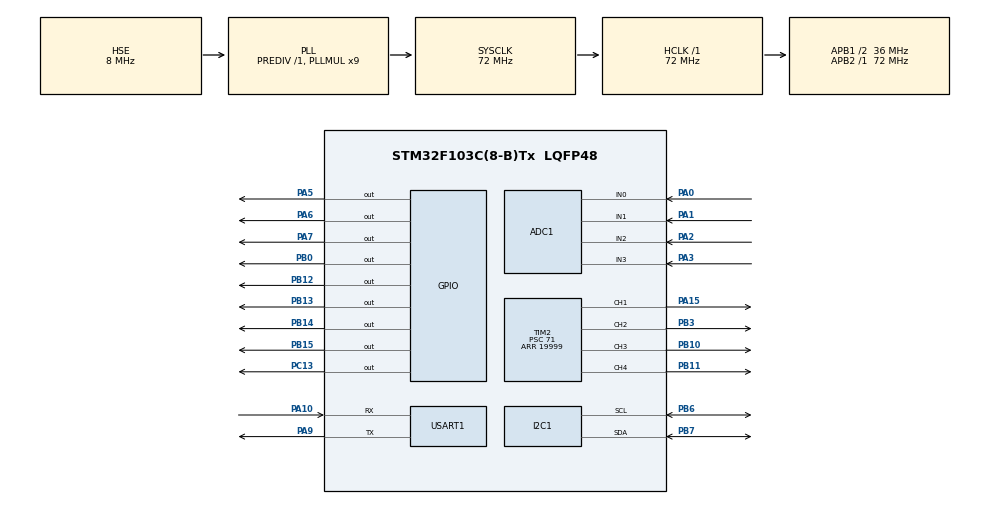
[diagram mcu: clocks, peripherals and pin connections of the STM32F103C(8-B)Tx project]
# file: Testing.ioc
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ADC1.Channel-0\#ChannelRegularConversion=ADC_CHANNEL_0
ADC1.NbrOfConversion=1
ADC1.NbrOfConversionFlag=1
ADC1.Rank-0\#ChannelRegularConversion=1
ADC1.SamplingTime-0\#ChannelRegularConversion=ADC_SAMPLETIME_239CYCLES_5
ADC1.master=1
Mcu.Family=STM32F1
Mcu.Name=STM32F103C(8-B)Tx
Mcu.Package=LQFP48
NVIC.PriorityGroup=NVIC_PRIORITYGROUP_4
NVIC.USART1_IRQn=true\:1\:0\:true\:false\:true\:true\:true\:true
PA0-WKUP.Signal=ADCx_IN0
PA1.Signal=ADCx_IN1
PA10.Mode=Asynchronous
PA10.Signal=USART1_RX
PA13.Mode=Serial_Wire
PA13.Signal=SYS_JTMS-SWDIO
PA14.Mode=Serial_Wire
PA14.Signal=SYS_JTCK-SWCLK
PA15.Signal=S_TIM2_CH1_ETR
PA2.Signal=ADCx_IN2
PA3.Signal=ADCx_IN3
PA5.Signal=GPIO_Output
PA6.Signal=GPIO_Output
PA7.Signal=GPIO_Output
PA9.Mode=Asynchronous
PA9.Signal=USART1_TX
PB0.Signal=GPIO_Output
PB10.Signal=S_TIM2_CH3
PB11.Signal=S_TIM2_CH4
PB12.Signal=GPIO_Output
PB13.Signal=GPIO_Output
PB14.Signal=GPIO_Output
PB15.Signal=GPIO_Output
PB3.Signal=S_TIM2_CH2
PB6.Mode=I2C
PB6.Signal=I2C1_SCL
PB7.Mode=I2C
PB7.Signal=I2C1_SDA
PC13-TAMPER-RTC.Signal=GPIO_Output
PD0-OSC_IN.Mode=HSE-External-Oscillator
PD0-OSC_IN.Signal=RCC_OSC_IN
PD1-OSC_OUT.Mode=HSE-External-Oscillator
PD1-OSC_OUT.Signal=RCC_OSC_OUT
ProjectManager.HeapSize=0x200
ProjectManager.StackSize=0x400
ProjectManager.TargetToolchain=MDK-ARM V5.32
RCC.ADCPresc=RCC_ADCPCLK2_DIV6
RCC.AHBFreq_Value=72000000
RCC.APB1CLKDivider=RCC_HCLK_DIV2
RCC.APB1Freq_Value=36000000
RCC.APB1TimFreq_Value=72000000
RCC.APB2Freq_Value=72000000
RCC.APB2TimFreq_Value=72000000
RCC.HCLKFreq_Value=72000000
RCC.PLLMUL=RCC_PLL_MUL9
RCC.PLLSourceVirtual=RCC_PLLSOURCE_HSE
RCC.SYSCLKFreq_VALUE=72000000
RCC.SYSCLKSource=RCC_SYSCLKSOURCE_PLLCLK
RCC.USBFreq_Value=72000000
SH.ADCx_IN0.0=ADC1_IN0,IN0
SH.ADCx_IN1.0=ADC1_IN1,IN1
SH.ADCx_IN2.0=ADC1_IN2,IN2
SH.ADCx_IN3.0=ADC1_IN3,IN3
SH.S_TIM2_CH1_ETR.0=TIM2_CH1,PWM Generation1 CH1
SH.S_TIM2_CH2.0=TIM2_CH2,PWM Generation2 CH2
SH.S_TIM2_CH3.0=TIM2_CH3,PWM Generation3 CH3
SH.S_TIM2_CH4.0=TIM2_CH4,PWM Generation4 CH4
TIM2.Channel-PWM\ Generation1\ CH1=TIM_CHANNEL_1
TIM2.Channel-PWM\ Generation2\ CH2=TIM_CHANNEL_2
TIM2.Channel-PWM\ Generation3\ CH3=TIM_CHANNEL_3
TIM2.Channel-PWM\ Generation4\ CH4=TIM_CHANNEL_4
TIM2.Period=19999
TIM2.Prescaler=71
USART1.VirtualMode=VM_ASYNC
VP_TIM2_VS_ClockSourceINT.Mode=Internal
board=custom

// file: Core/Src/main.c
/* USER CODE BEGIN Header */
/**
  ******************************************************************************
  * @file           : main.c
  * @brief          : Main program body
  ******************************************************************************
  * @attention
  *
  * Copyright (c) 2025 STMicroelectronics.
  * All rights reserved.
  *
  * This software is licensed under terms that can be found in the LICENSE file
  * in the root directory of this software component.
  * If no LICENSE file comes with this software, it is provided AS-IS.
  *
  ******************************************************************************
  */
/* USER CODE END Header */
#include "main.h"

/* USER CODE BEGIN Includes */
#include <stdio.h>
#include <string.h>

#include "battery_control.h"
#include "servo_control.h"
#include "ina219_manager.h"
#include "ntc_sensor.h"
#include "handle_cmd.h"
#include "uart_dn.h"
#include "battery_diagnostics.h"
#include "soft_timer.h"

/* USER CODE END Includes */

/* USER CODE BEGIN PTD */
const float threshold_pin_empty = 800.0f;
const float threshold_temperature = 55.0f;
const uint8_t angle_open = 180U;
const uint8_t angle_close = 40U;

/* USER CODE END PTD */

ADC_HandleTypeDef hadc1;

I2C_HandleTypeDef hi2c1;

TIM_HandleTypeDef htim2;

UART_HandleTypeDef huart1;

void SystemClock_Config(void);
static void MX_GPIO_Init(void);
static void MX_I2C1_Init(void);
static void MX_ADC1_Init(void);
static void MX_TIM2_Init(void);
static void MX_USART1_UART_Init(void);

/* USER CODE BEGIN 0 */

const uint32_t ADC_Channel[] = {
	ADC_CHANNEL_0,
	ADC_CHANNEL_1,
	ADC_CHANNEL_2,
};

SoftTimer timer_sensor;

volatile SystemState status_machine = IDLE_WAIT_CMD;

PinChannel pin_channels[3] = {0};

uint8_t id_pin_percent_max = 0;
uint8_t id_pin_empty = 0;

volatile int8_t esp32_pin_check_status = -1;
uint32_t timestamp_gui_checkpin = 0; // tý coi nó là gì sua nó lai

#define ESP32_CHECK_TIMEOUT 5000    // này n?a

#define CHARGE_FULL_COUNTER_LIMIT  20

uint8_t id_pin_dang_kiem_tra = 4;

const char* get_channel_state_string(StatusChannel state) {
	switch(state) {
		case pin_empty:       return "T";
		case pin_charge:  		return "S";
		case pin_full: 		    return "D";
		case pin_over_heat:   return "N";
		case pin_error:       return "L";
		default:              return "R";
	}
}

uint8_t percent[3];

void ReportStatusTask(void) {
	char report_buffer[50];

	for (int i = 0; i < 3; i++) {
	if(pin_channels[i].status == pin_empty) {
		percent[i] = 0;
		pin_channels[i].check_percent_pin = 0;
	}

	if(pin_channels[i].status == pin_full) {
		percent[i] = 100;
		pin_channels[i].check_percent_pin = 0;
	}

	if(pin_channels[i].check_percent_pin == 1) {
		percent[i] = pin_channels[i].data_pin.soc_percent;
		pin_channels[i].check_percent_pin = 0;
	}

	sprintf(report_buffer, "P:%d,%%:%d,C:%s,V:%.2f,I:%.2f,T:%.1f\n",
							i + 1,
							percent[i],
							get_channel_state_string(pin_channels[i].status),
							pin_channels[i].data_pin.voltage,
							pin_channels[i].data_pin.current,
							pin_channels[i].temperatures);

	TransmitStringHandlerUART(report_buffer);
	}

	TransmitStringHandlerUART("\n");
}

volatile uint8_t fit_pin_remove = 4;
volatile uint8_t fit_pin_initial = 4;

void CheckPinNewInitial(uint8_t id, PinChannel* id_channel) {
	if (id_channel->data_pin.voltage > threshold_pin_empty) {
		BatteryHealth health_status = CheckDiagnose(id + 1, id_channel->temperatures);

		if (health_status == BATT_UNSAFE_TEMP || health_status == BATT_DEAD) {
			id_channel->status = pin_error;
		} else {
				health_status = RunIRTestDiagnose(id + 1);

				if (health_status == BATT_HEALTHY) {

					if (id_channel->data_pin.soc_percent >= 98.0f) {
						id_channel->status = pin_full;

						if(status_machine == ALL_SLOTS_EMPTY) status_machine = IDLE_WAIT_CMD;
					} else {
								id_channel->status = pin_charge;

								if(status_machine == ALL_SLOTS_EMPTY) status_machine = IDLE_WAIT_CMD;

								id_channel->check_percent_pin = 1;
								id_channel->last_check_percent = HAL_GetTick();
					}
				} else {
						id_channel->status = pin_error;
				}
		}
	}
}

void HandlerStateCharge(PinChannel* channel) {

	if (channel->temperatures <= (NTC_ERROR_VAL + 1.0f)) {
		channel->status = pin_error;
		return;
	}

	if (channel->temperatures > threshold_temperature || channel->temperatures < 5.0f) {
		channel->status = pin_over_heat;

		return;
	}

	if ((channel->data_pin.current < 1.6f && channel->data_pin.current > -2.3f)
	|| (channel->data_pin.current < 0.1f && channel->data_pin.current > -1.0f)) {
		if (channel->charge_done_counter == 0) {
			channel->charge_done_timestamp = HAL_GetTick();
		}
			channel->charge_done_counter++;

			if (channel->charge_done_counter >= CHARGE_FULL_COUNTER_LIMIT) {
					if (channel->data_pin.current < 0.1f && channel->data_pin.current > -1.0f) {
							channel->status = pin_empty;
					} else {
							channel->status = pin_full;
					}
					channel->charge_done_counter = 0;
			}
	} else {
			channel->charge_done_counter = 0;
	}

	if (channel->charge_done_counter > 0 && channel->charge_done_counter < 3) {
			if (HAL_GetTick() - channel->charge_done_timestamp > 6000) {
					channel->charge_done_counter = 0;
			}
	}
}

//Initial All Pin in Battery control
void InitialAllPinBattery(void) {
	InitChannelBattery(1, GPIOB, GPIO_PIN_13, GPIOB, GPIO_PIN_12);
	InitChannelBattery(2, GPIOB, GPIO_PIN_15, GPIOB, GPIO_PIN_14);
	InitChannelBattery(3, GPIOA, GPIO_PIN_7, GPIOB, GPIO_PIN_0);
}

//Initial Servo Pin
void InitialAllPinServo(void) {
	InitServo(1, &htim2, TIM_CHANNEL_1);
	InitServo(2, &htim2, TIM_CHANNEL_2);
	InitServo(3, &htim2, TIM_CHANNEL_3);
}

void InitialAllINA219(void) {
	SetAddressManagerINA219(1, 0x40);
	SetAddressManagerINA219(2, 0x41);
	SetAddressManagerINA219(3, 0x44);
}

void InitialStateBeginChannelBattery(void) {
	for(uint8_t i = 0; i < 3; i++) {
		pin_channels[i].status = pin_empty;
  }
}

/* USER CODE END 0 */

int main(void)
{

  /* MCU Configuration--------------------------------------------------------*/

  /* Reset of all peripherals, Initializes the Flash interface and the Systick. */
  HAL_Init();

  /* Configure the system clock */
  SystemClock_Config();

  /* Initialize all configured peripherals */
  MX_GPIO_Init();
  MX_I2C1_Init();
  MX_ADC1_Init();
  MX_TIM2_Init();
  MX_USART1_UART_Init();
  /* USER CODE BEGIN 2 */
	HAL_ADCEx_Calibration_Start(&hadc1);

	InitHandlerUART(&huart1);

	InitialAllPinBattery();
	SetIdleAllChannelBattery();

	InitialAllPinServo();
	OpenAllServo(angle_open);

	InitialStateBeginChannelBattery();

	InitialAllINA219();
	if (0 == InitManagerINA219(&hi2c1)) {
		HAL_GPIO_TogglePin(GPIOC, GPIO_PIN_13);
	}

	char rx_line_buffer[100];
	char cmd_buffer[100];

	StartSoftTimer(&timer_sensor, 500);

	TransmitStringHandlerUART("He thong khoi dong");

  /* USER CODE END 2 */

  /* Infinite loop */
  while (1)
  {

    /* USER CODE BEGIN 3 */
		RunManagerServo();

    if (GetLineHandlerUART(rx_line_buffer, 100)) {
			strcpy(cmd_buffer, rx_line_buffer);
			CMDProcessAll(cmd_buffer);
			TransmitStringHandlerUART("ok\r\n");
    }

		if (IsExpiredSoftTimer(&timer_sensor)) {
			for(uint8_t id = 0; id < 3; id++){
					pin_channels[id].temperatures = GetTemperatureNTC(&hadc1, ADC_Channel[id]);
					pin_channels[id].data_pin = ReadManagerINA219(id + 1);
			}

			uint8_t temp_max_percent = 0;
			uint8_t found_empty_slot = 0;
			id_pin_percent_max = 4;
			id_pin_empty = 4;

			if(status_machine == IDLE_WAIT_CMD) status_machine = ALL_SLOTS_EMPTY;
			for (int i = 0; i < 3; i++) {
				if(pin_channels[i].status == pin_empty) {
					percent[i] = 0;
				} else if(pin_channels[i].status == pin_full) {
					if(status_machine == ALL_SLOTS_EMPTY) status_machine = IDLE_WAIT_CMD;
					percent[i] = 100;
				} else if(pin_channels[i].check_percent_pin == 1) {
					percent[i] = pin_channels[i].data_pin.soc_percent;
					pin_channels[i].check_percent_pin = 0;
				}

				if ((pin_channels[i].status == pin_charge || pin_channels[i].status == pin_full) && percent[i] >= temp_max_percent) {
					if(status_machine == ALL_SLOTS_EMPTY) status_machine = IDLE_WAIT_CMD;
					temp_max_percent = percent[i];
					id_pin_percent_max = i;
				}

				if ((pin_channels[i].status == pin_empty) &&  (0 == found_empty_slot)) {
					id_pin_empty = i;
					found_empty_slot = 1;
				}
			}
			ReportStatusTask();
		}

		switch (status_machine) {
			case INSTALL_BATTERY:
				for(uint8_t i = 0; i < 3; i++){
					if(pin_channels[i].status == pin_empty || pin_channels[i].status == pin_error){
						SetAngleServo(i + 1, angle_open);

						if((pin_channels[i].status == pin_error) && (pin_channels[i].data_pin.voltage < threshold_pin_empty)) {
								pin_channels[i].status = pin_empty;
						}

						if(pin_channels[i].data_pin.voltage > threshold_pin_empty){
							esp32_pin_check_status = -1;
							timestamp_gui_checkpin = HAL_GetTick();
							id_pin_dang_kiem_tra = i;

							TransmitStringHandlerUART("checkpin\n");

							status_machine = INSTALL_WAIT_ESP_PROCESS;
							break;
						}
					}
				}
				break;

			case ALL_SLOTS_EMPTY:
				OpenAllServo(angle_open);

				for(uint8_t i = 0; i < 3; i++){
					SetStateChannelBattery(i + 1, STATE_IDLE);

					if(pin_channels[i].data_pin.voltage > threshold_pin_empty){
						esp32_pin_check_status = -1;
						timestamp_gui_checkpin = HAL_GetTick();
						id_pin_dang_kiem_tra = i;

						TransmitStringHandlerUART("checkpin\n");

						status_machine = INSTALL_WAIT_ESP_PROCESS;
					}
				}
				break;

			case IDLE_WAIT_CMD:
				OpenAllServo(angle_open);

				for (uint8_t i = 0; i < 3; i++) {
					switch(pin_channels[i].status) {
						case pin_empty:
							SetStateChannelBattery(i + 1, STATE_IDLE);
							if(pin_channels[i].data_pin.voltage > threshold_pin_empty){
								esp32_pin_check_status = -1;
								timestamp_gui_checkpin = HAL_GetTick();
								id_pin_dang_kiem_tra = i;

								TransmitStringHandlerUART("checkpin\n");

								status_machine = INSTALL_WAIT_ESP_PROCESS;
							}
							break;

						case pin_charge:
							HandlerStateCharge(&(pin_channels[i]));
							SetStateChannelBattery(i + 1, STATE_CHARGING);
							break;

						case pin_over_heat:
							if(pin_channels[i].temperatures < threshold_temperature - 5) {
								pin_channels[i].status = pin_charge;
							}
							SetStateChannelBattery(i + 1, STATE_IDLE);
							break;

						case pin_full:
						case pin_error:
							if(pin_channels[i].data_pin.voltage < threshold_pin_empty) {
								pin_channels[i].status = pin_empty;
							}
							SetStateChannelBattery(i + 1, STATE_IDLE);
							break;

						default:

						break;
					}
				}
			break;

			case WAIT_BATTERY_REMOVAL:
					SetAngleServo(fit_pin_remove + 1, angle_open);
					SetStateChannelBattery(fit_pin_remove + 1, STATE_IDLE);

					if (pin_channels[fit_pin_remove].data_pin.voltage < threshold_pin_empty) {
							pin_channels[fit_pin_remove].status = pin_empty;
							SetAngleServo(fit_pin_remove + 1, angle_close);
							fit_pin_remove = 4;
							status_machine = IDLE_WAIT_CMD;
					}
					break;

			case SWAP_WAIT_INSERTION:
					for(uint8_t i = 0; i < 3; i++)
					{
						if(i == fit_pin_initial){
							SetAngleServo(fit_pin_initial + 1, angle_open);
						}
						else{
							SetAngleServo(i + 1, angle_close);
						}
					}

					if (pin_channels[fit_pin_initial].data_pin.voltage > threshold_pin_empty) {
							esp32_pin_check_status = -1;
							timestamp_gui_checkpin = HAL_GetTick();

							TransmitStringHandlerUART("checkpin\n");

							status_machine = SWAP_WAIT_ESP_PROCESS;
					}
					break;

			case SWAP_WAIT_REMOVAL:
					for(uint8_t i = 0; i < 3; i++)
					{
						if(i == fit_pin_remove){
							SetAngleServo(fit_pin_remove + 1, angle_open);
						}
						else{
							SetAngleServo(i + 1, angle_close);
						}
					}
					SetStateChannelBattery(fit_pin_remove + 1, STATE_IDLE);

					if (pin_channels[fit_pin_remove].data_pin.voltage < threshold_pin_empty) {
							pin_channels[fit_pin_remove].status = pin_empty;
							SetAngleServo(fit_pin_remove + 1, angle_close);

							fit_pin_remove = 4;
							fit_pin_initial = 4;
							status_machine = IDLE_WAIT_CMD;
					}
					break;

			case INSTALL_WAIT_ESP_PROCESS:
				if (esp32_pin_check_status == 1) {
						CheckPinNewInitial(id_pin_dang_kiem_tra, &pin_channels[id_pin_dang_kiem_tra]);

						if (pin_channels[id_pin_dang_kiem_tra].status == pin_charge || pin_channels[id_pin_dang_kiem_tra].status == pin_full) {
								CloseAllServo(angle_close);
								status_machine = IDLE_WAIT_CMD;
						} else {
								status_machine = INSTALL_ERROR_REMOVAL;
						}
						esp32_pin_check_status = -1;
				}
				else if (esp32_pin_check_status == 0) {
						status_machine = INSTALL_ERROR_REMOVAL;
						esp32_pin_check_status = -1;
				}
				else if (HAL_GetTick() - timestamp_gui_checkpin > ESP32_CHECK_TIMEOUT) {
						status_machine = INSTALL_ERROR_REMOVAL;
						esp32_pin_check_status = -1;
				}
				break;

			case INSTALL_ERROR_REMOVAL:
				SetAngleServo(id_pin_dang_kiem_tra + 1, angle_open);

				if (pin_channels[id_pin_dang_kiem_tra].data_pin.voltage < threshold_pin_empty) {
						pin_channels[id_pin_dang_kiem_tra].status = pin_empty;
						id_pin_dang_kiem_tra = 4;
						status_machine = INSTALL_BATTERY;
				}
				break;

			case SWAP_WAIT_ESP_PROCESS:
				if (esp32_pin_check_status == 1) {
						CheckPinNewInitial(fit_pin_initial, &pin_channels[fit_pin_initial]);

						if (pin_channels[fit_pin_initial].status == pin_charge || pin_channels[fit_pin_initial].status == pin_full) {
								SetAngleServo(fit_pin_initial + 1, angle_close);
								status_machine = SWAP_WAIT_REMOVAL;
						} else {
								status_machine = SWAP_WAIT_REMOVAL;
						}
						esp32_pin_check_status = -1;
				}
				else if (esp32_pin_check_status == 0) {
						status_machine = SWAP_WAIT_REMOVAL;
						esp32_pin_check_status = -1;
				}
				else if (HAL_GetTick() - timestamp_gui_checkpin > ESP32_CHECK_TIMEOUT) {
						status_machine = SWAP_WAIT_REMOVAL;
						esp32_pin_check_status = -1;
				}
				break;

			case SWAP_ERROR_REMOVAL:
				SetAngleServo(fit_pin_initial + 1, angle_open);

				if (pin_channels[fit_pin_initial].data_pin.voltage < threshold_pin_empty) {
						pin_channels[fit_pin_initial].status = pin_empty;
						status_machine = SWAP_WAIT_INSERTION;
				}
				break;
		}

		for (uint8_t i = 0; i < 3; i++) {
			if (pin_channels[i].status == pin_charge && HAL_GetTick() - pin_channels[i].last_check_percent >= 300000) {
					SetStateChannelBattery(i + 1, STATE_IDLE); // Ngắt sạc
					HAL_Delay(100);
					pin_channels[i].data_pin = ReadManagerINA219(i + 1);
					pin_channels[i].last_check_percent = HAL_GetTick();
					pin_channels[i].check_percent_pin = 1;
					SetStateChannelBattery(i + 1, STATE_CHARGING); // Bật sạc lại
			}
		}
//		float temperatures[4];
//		INA219_Data_t data_pin[4];
//
//		SetStateChannelBattery(4, STATE_CHARGING);
//    if (HAL_GetTick() - last_sensor_update_tick >= 1000)
//		{
//    last_sensor_update_tick = HAL_GetTick();
//    for(uint8_t i = 0; i < 4; i++) {
//        temperatures[i] = NTC_GetTemperature(&hadc1, ADC_Channel[i]);
//        data_pin[i] = INA219_Manager_Read(i + 1);
//
//        char data_transmit[100];
//        sprintf(data_transmit, "DATA%d: V=%.2f, C=%.2fmA, T=%.1f\r\n",
//                i+1, data_pin[i].voltage, data_pin[i].current, temperatures[i]);
//        TransmitStringHandlerUART(data_transmit);
//    }
//		}  /* USER CODE END 3 */
	}
}

void SystemClock_Config(void)
{
  RCC_OscInitTypeDef RCC_OscInitStruct = {0};
  RCC_ClkInitTypeDef RCC_ClkInitStruct = {0};
  RCC_PeriphCLKInitTypeDef PeriphClkInit = {0};

  /** Initializes the RCC Oscillators according to the specified parameters
  * in the RCC_OscInitTypeDef structure.
  */
  RCC_OscInitStruct.OscillatorType = RCC_OSCILLATORTYPE_HSE;
  RCC_OscInitStruct.HSEState = RCC_HSE_ON;
  RCC_OscInitStruct.HSEPredivValue = RCC_HSE_PREDIV_DIV1;
  RCC_OscInitStruct.HSIState = RCC_HSI_ON;
  RCC_OscInitStruct.PLL.PLLState = RCC_PLL_ON;
  RCC_OscInitStruct.PLL.PLLSource = RCC_PLLSOURCE_HSE;
  RCC_OscInitStruct.PLL.PLLMUL = RCC_PLL_MUL9;
  if (HAL_RCC_OscConfig(&RCC_OscInitStruct) != HAL_OK)
  {
    Error_Handler();
  }

  /** Initializes the CPU, AHB and APB buses clocks
  */
  RCC_ClkInitStruct.ClockType = RCC_CLOCKTYPE_HCLK|RCC_CLOCKTYPE_SYSCLK
                              |RCC_CLOCKTYPE_PCLK1|RCC_CLOCKTYPE_PCLK2;
  RCC_ClkInitStruct.SYSCLKSource = RCC_SYSCLKSOURCE_PLLCLK;
  RCC_ClkInitStruct.AHBCLKDivider = RCC_SYSCLK_DIV1;
  RCC_ClkInitStruct.APB1CLKDivider = RCC_HCLK_DIV2;
  RCC_ClkInitStruct.APB2CLKDivider = RCC_HCLK_DIV1;

  if (HAL_RCC_ClockConfig(&RCC_ClkInitStruct, FLASH_LATENCY_2) != HAL_OK)
  {
    Error_Handler();
  }
  PeriphClkInit.PeriphClockSelection = RCC_PERIPHCLK_ADC;
  PeriphClkInit.AdcClockSelection = RCC_ADCPCLK2_DIV6;
  if (HAL_RCCEx_PeriphCLKConfig(&PeriphClkInit) != HAL_OK)
  {
    Error_Handler();
  }
}

static void MX_ADC1_Init(void)
{

  ADC_ChannelConfTypeDef sConfig = {0};

  /** Common config
  */
  hadc1.Instance = ADC1;
  hadc1.Init.ScanConvMode = ADC_SCAN_DISABLE;
  hadc1.Init.ContinuousConvMode = DISABLE;
  hadc1.Init.DiscontinuousConvMode = DISABLE;
  hadc1.Init.ExternalTrigConv = ADC_SOFTWARE_START;
  hadc1.Init.DataAlign = ADC_DATAALIGN_RIGHT;
  hadc1.Init.NbrOfConversion = 1;
  if (HAL_ADC_Init(&hadc1) != HAL_OK)
  {
    Error_Handler();
  }

  /** Configure Regular Channel
  */
  sConfig.Channel = ADC_CHANNEL_0;
  sConfig.Rank = ADC_REGULAR_RANK_1;
  sConfig.SamplingTime = ADC_SAMPLETIME_239CYCLES_5;
  if (HAL_ADC_ConfigChannel(&hadc1, &sConfig) != HAL_OK)
  {
    Error_Handler();
  }

}

static void MX_I2C1_Init(void)
{

  hi2c1.Instance = I2C1;
  hi2c1.Init.ClockSpeed = 100000;
  hi2c1.Init.DutyCycle = I2C_DUTYCYCLE_2;
  hi2c1.Init.OwnAddress1 = 0;
  hi2c1.Init.AddressingMode = I2C_ADDRESSINGMODE_7BIT;
  hi2c1.Init.DualAddressMode = I2C_DUALADDRESS_DISABLE;
  hi2c1.Init.OwnAddress2 = 0;
  hi2c1.Init.GeneralCallMode = I2C_GENERALCALL_DISABLE;
  hi2c1.Init.NoStretchMode = I2C_NOSTRETCH_DISABLE;
  if (HAL_I2C_Init(&hi2c1) != HAL_OK)
  {
    Error_Handler();
  }

}

static void MX_TIM2_Init(void)
{

  TIM_ClockConfigTypeDef sClockSourceConfig = {0};
  TIM_MasterConfigTypeDef sMasterConfig = {0};
  TIM_OC_InitTypeDef sConfigOC = {0};

  htim2.Instance = TIM2;
  htim2.Init.Prescaler = 71;
  htim2.Init.CounterMode = TIM_COUNTERMODE_UP;
  htim2.Init.Period = 19999;
  htim2.Init.ClockDivision = TIM_CLOCKDIVISION_DIV1;
  htim2.Init.AutoReloadPreload = TIM_AUTORELOAD_PRELOAD_DISABLE;
  if (HAL_TIM_Base_Init(&htim2) != HAL_OK)
  {
    Error_Handler();
  }
  sClockSourceConfig.ClockSource = TIM_CLOCKSOURCE_INTERNAL;
  if (HAL_TIM_ConfigClockSource(&htim2, &sClockSourceConfig) != HAL_OK)
  {
    Error_Handler();
  }
  if (HAL_TIM_PWM_Init(&htim2) != HAL_OK)
  {
    Error_Handler();
  }
  sMasterConfig.MasterOutputTrigger = TIM_TRGO_RESET;
  sMasterConfig.MasterSlaveMode = TIM_MASTERSLAVEMODE_DISABLE;
  if (HAL_TIMEx_MasterConfigSynchronization(&htim2, &sMasterConfig) != HAL_OK)
  {
    Error_Handler();
  }
  sConfigOC.OCMode = TIM_OCMODE_PWM1;
  sConfigOC.Pulse = 0;
  sConfigOC.OCPolarity = TIM_OCPOLARITY_HIGH;
  sConfigOC.OCFastMode = TIM_OCFAST_DISABLE;
  if (HAL_TIM_PWM_ConfigChannel(&htim2, &sConfigOC, TIM_CHANNEL_1) != HAL_OK)
  {
    Error_Handler();
  }
  if (HAL_TIM_PWM_ConfigChannel(&htim2, &sConfigOC, TIM_CHANNEL_2) != HAL_OK)
  {
    Error_Handler();
  }
  if (HAL_TIM_PWM_ConfigChannel(&htim2, &sConfigOC, TIM_CHANNEL_3) != HAL_OK)
  {
    Error_Handler();
  }
  if (HAL_TIM_PWM_ConfigChannel(&htim2, &sConfigOC, TIM_CHANNEL_4) != HAL_OK)
  {
    Error_Handler();
  }
  HAL_TIM_MspPostInit(&htim2);

}

static void MX_USART1_UART_Init(void)
{

  huart1.Instance = USART1;
  huart1.Init.BaudRate = 115200;
  huart1.Init.WordLength = UART_WORDLENGTH_8B;
  huart1.Init.StopBits = UART_STOPBITS_1;
  huart1.Init.Parity = UART_PARITY_NONE;
  huart1.Init.Mode = UART_MODE_TX_RX;
  huart1.Init.HwFlowCtl = UART_HWCONTROL_NONE;
  huart1.Init.OverSampling = UART_OVERSAMPLING_16;
  if (HAL_UART_Init(&huart1) != HAL_OK)
  {
    Error_Handler();
  }

}

static void MX_GPIO_Init(void)
{
  GPIO_InitTypeDef GPIO_InitStruct = {0};

  /* GPIO Ports Clock Enable */
  __HAL_RCC_GPIOC_CLK_ENABLE();
  __HAL_RCC_GPIOD_CLK_ENABLE();
  __HAL_RCC_GPIOA_CLK_ENABLE();
  __HAL_RCC_GPIOB_CLK_ENABLE();

  /*Configure GPIO pin Output Level */
  HAL_GPIO_WritePin(GPIOC, GPIO_PIN_13, GPIO_PIN_RESET);

  /*Configure GPIO pin Output Level */
  HAL_GPIO_WritePin(GPIOA, GPIO_PIN_5|GPIO_PIN_6|GPIO_PIN_7, GPIO_PIN_RESET);

  /*Configure GPIO pin Output Level */
  HAL_GPIO_WritePin(GPIOB, GPIO_PIN_0|GPIO_PIN_12|GPIO_PIN_13|GPIO_PIN_14
                          |GPIO_PIN_15, GPIO_PIN_RESET);

  /*Configure GPIO pin : PC13 */
  GPIO_InitStruct.Pin = GPIO_PIN_13;
  GPIO_InitStruct.Mode = GPIO_MODE_OUTPUT_PP;
  GPIO_InitStruct.Pull = GPIO_NOPULL;
  GPIO_InitStruct.Speed = GPIO_SPEED_FREQ_LOW;
  HAL_GPIO_Init(GPIOC, &GPIO_InitStruct);

  /*Configure GPIO pins : PA5 PA6 PA7 */
  GPIO_InitStruct.Pin = GPIO_PIN_5|GPIO_PIN_6|GPIO_PIN_7;
  GPIO_InitStruct.Mode = GPIO_MODE_OUTPUT_PP;
  GPIO_InitStruct.Pull = GPIO_NOPULL;
  GPIO_InitStruct.Speed = GPIO_SPEED_FREQ_LOW;
  HAL_GPIO_Init(GPIOA, &GPIO_InitStruct);

  /*Configure GPIO pins : PB0 PB12 PB13 PB14
                           PB15 */
  GPIO_InitStruct.Pin = GPIO_PIN_0|GPIO_PIN_12|GPIO_PIN_13|GPIO_PIN_14
                          |GPIO_PIN_15;
  GPIO_InitStruct.Mode = GPIO_MODE_OUTPUT_PP;
  GPIO_InitStruct.Pull = GPIO_NOPULL;
  GPIO_InitStruct.Speed = GPIO_SPEED_FREQ_LOW;
  HAL_GPIO_Init(GPIOB, &GPIO_InitStruct);

}

void Error_Handler(void)
{
  __disable_irq();
  while (1)
  {
  }
}
